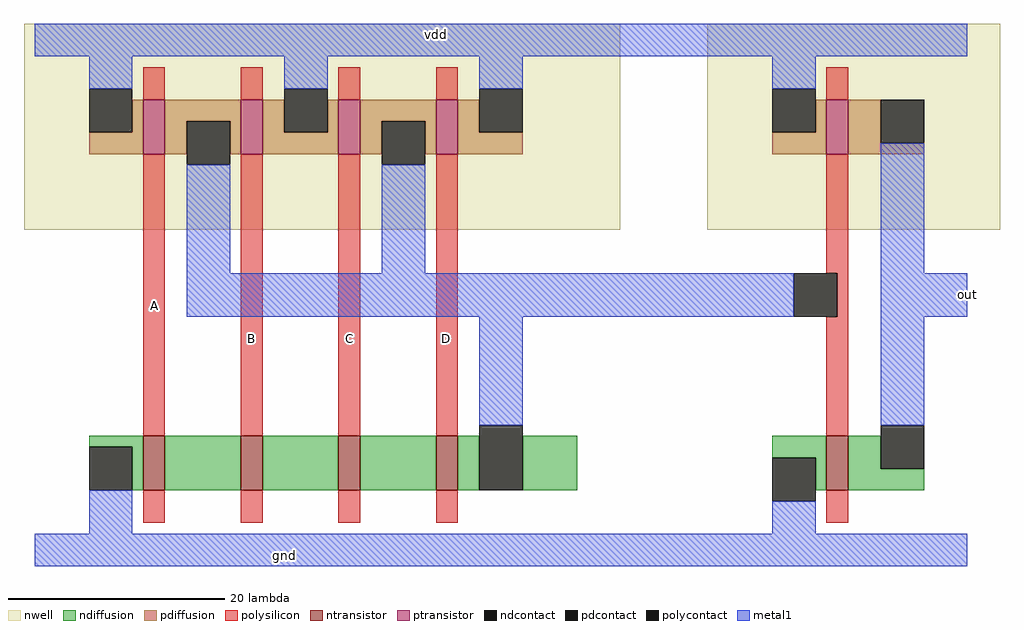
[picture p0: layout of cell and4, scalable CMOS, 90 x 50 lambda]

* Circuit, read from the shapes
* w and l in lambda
.subckt and4 A B C D gnd out vdd
M1 n1 A gnd VSUBS nfet w=5 l=2
M2 n2 B n1 VSUBS nfet w=5 l=2
M3 n3 C n2 VSUBS nfet w=5 l=2
M4 n4 D n3 VSUBS nfet w=5 l=2
M5 out n4 gnd VSUBS nfet w=5 l=2
M6 n4 A vdd n5 pfet w=5 l=2
M7 vdd B n4 n5 pfet w=5 l=2
M8 n4 C vdd n5 pfet w=5 l=2
M9 vdd D n4 n5 pfet w=5 l=2
M10 out n4 vdd n6 pfet w=5 l=2
.ends

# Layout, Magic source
magic
tech scmos
<< nwell >>
rect 0 90 55 109
rect 63 90 90 109
<< ntransistor >>
rect 11 66 13 71
rect 20 66 22 71
rect 29 66 31 71
rect 38 66 40 71
rect 74 66 76 71
<< ptransistor >>
rect 11 97 13 102
rect 20 97 22 102
rect 29 97 31 102
rect 38 97 40 102
rect 74 97 76 102
<< ndiffusion >>
rect 6 70 11 71
rect 10 66 11 70
rect 13 66 20 71
rect 22 66 29 71
rect 31 66 38 71
rect 40 66 42 71
rect 46 66 51 71
rect 69 69 74 71
rect 73 66 74 69
rect 76 68 79 71
rect 76 66 83 68
<< pdiffusion >>
rect 10 99 11 102
rect 6 97 11 99
rect 13 100 20 102
rect 13 97 15 100
rect 19 97 20 100
rect 22 99 24 102
rect 28 99 29 102
rect 22 97 29 99
rect 31 100 38 102
rect 31 97 33 100
rect 37 97 38 100
rect 40 99 42 102
rect 40 97 46 99
rect 73 99 74 102
rect 69 97 74 99
rect 76 98 79 102
rect 76 97 83 98
<< ndcontact >>
rect 6 66 10 70
rect 42 66 46 72
rect 69 65 73 69
rect 79 68 83 72
<< pdcontact >>
rect 6 99 10 103
rect 15 96 19 100
rect 24 99 28 103
rect 33 96 37 100
rect 42 99 46 103
rect 69 99 73 103
rect 79 98 83 102
<< polysilicon >>
rect 11 102 13 105
rect 20 102 22 105
rect 11 71 13 97
rect 29 102 31 105
rect 38 102 40 105
rect 20 71 22 97
rect 29 71 31 97
rect 74 102 76 105
rect 38 71 40 97
rect 74 86 76 97
rect 75 82 76 86
rect 74 71 76 82
rect 11 63 13 66
rect 20 63 22 66
rect 29 63 31 66
rect 38 63 40 66
rect 74 63 76 66
<< polycontact >>
rect 71 82 75 86
<< metal1 >>
rect 1 106 87 109
rect 6 103 10 106
rect 24 103 28 106
rect 42 103 46 106
rect 15 86 19 96
rect 69 103 73 106
rect 33 86 37 96
rect 79 86 83 98
rect 15 82 71 86
rect 79 82 87 86
rect 42 72 46 82
rect 79 72 83 82
rect 6 62 10 66
rect 69 62 73 65
rect 1 59 87 62
<< labels >>
rlabel metal1 24 60 24 60 1 gnd
rlabel metal1 38 108 38 108 5 vdd
rlabel polysilicon 12 83 12 83 1 A
rlabel polysilicon 21 80 21 80 1 B
rlabel polysilicon 30 80 30 80 1 C
rlabel polysilicon 39 80 39 80 1 D
rlabel metal1 87 82 87 86 7 out
<< end >>
